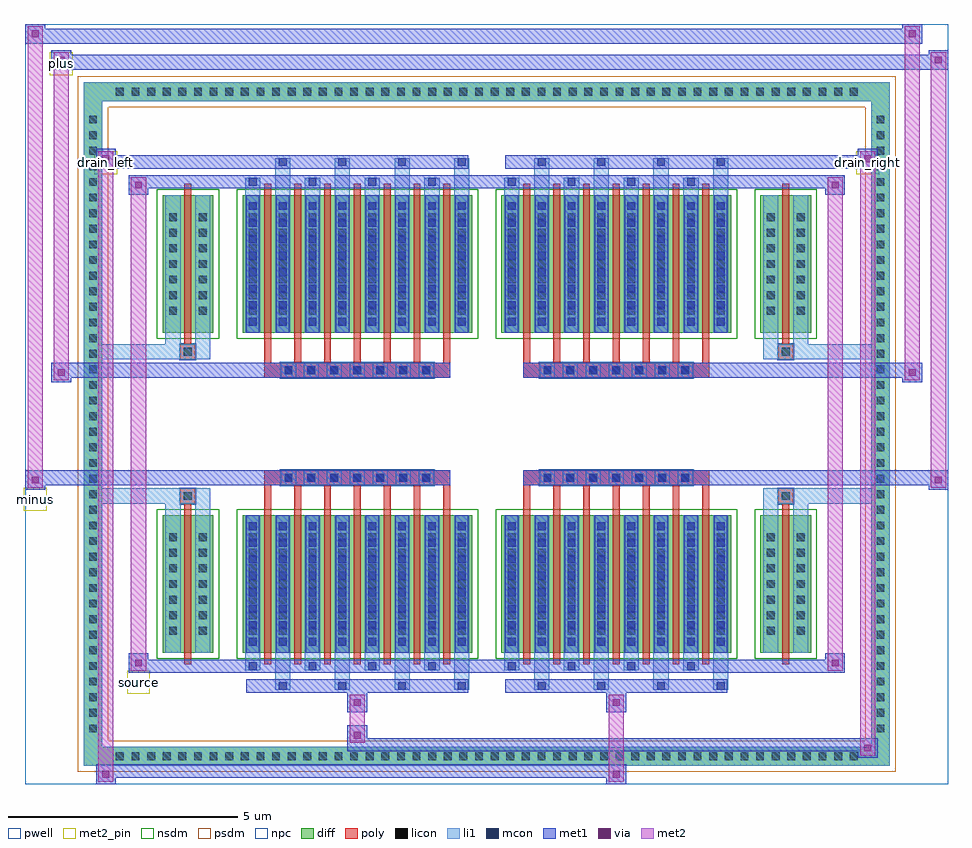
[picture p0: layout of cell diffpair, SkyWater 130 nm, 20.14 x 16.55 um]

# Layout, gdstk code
import gdstk
lib = gdstk.Library(unit=1e-6, precision=5e-09)
def R(c, l, rs):  # rectangles x0, y0, x1, y1
    for r in rs: c.add(gdstk.rectangle(r[:2], r[2:], *l))
def A(c, l, x, y, w, h, nx, ny, dx, dy):  # array of equal rectangles
    R(c, l, [(x+i*dx, y+j*dy, x+i*dx+w, y+j*dy+h) for i in range(nx) for j in range(ny)])
def P(c, l, *ps):  # polygons
    for p in ps: c.add(gdstk.Polygon(p, *l))
pwell = (64, 44)
diff = (65, 20)
poly = (66, 20)
licon = (66, 44)
li1 = (67, 20)
mcon = (67, 44)
met1 = (68, 20)
via = (68, 44)
met2_pin = (69, 16)
met2 = (69, 20)
nsdm = (93, 44)
psdm = (94, 20)
npc = (95, 20)

diffpair = lib.new_cell('diffpair')
R(diffpair, pwell, [(-10.05,-7.84,10.05,8.71), (-7.37,-6.03,-0.01,-0.805), (0.01,-6.03,7.37,-0.805), (-7.37,0.805,-0.01,6.03), (0.01,0.805,7.37,6.03)])
A(diffpair, diff, -8.195, -7.44, 0.41, 0.41, 48, 2, 0.34, 14.47)
A(diffpair, diff, -8.78, -6.835, 0.41, 0.41, 1, 40, 0, 0.34)
A(diffpair, diff, 8.37, -6.835, 0.41, 0.41, 1, 40, 0, 0.34)
R(diffpair, diff, [(-8.195,-7.44,8.195,-7.03), (-8.78,-6.835,-8.37,6.835), (8.37,-6.835,8.78,6.835), (-7.06,-4.985,-5.96,-1.985), (-5.32,-4.985,-0.32,-1.985), (0.32,-4.985,5.32,-1.985), (5.96,-4.985,7.06,-1.985), (-7.06,1.985,-5.96,4.985), (-5.32,1.985,-0.32,4.985), (0.32,1.985,5.32,4.985), (5.96,1.985,7.06,4.985), (-8.195,7.03,8.195,7.44)])
P(diffpair, diff, [(8.78,7.44),(-8.78,7.44),(-8.78,-7.03),(-8.37,-7.03),(-8.37,7.03),(8.37,7.03),(8.37,-7.03),(-8.37,-7.03),(-8.78,-7.03),(-8.78,-7.44),(8.78,-7.44)])
A(diffpair, poly, -4.845, -5.235, 0.15, 3.5, 7, 2, 0.65, 6.97)
A(diffpair, poly, 0.795, -5.235, 0.15, 3.5, 7, 2, 0.65, 6.97)
A(diffpair, poly, -4.845, -1.735, 0.15, 0.4, 7, 2, 0.65, 3.07)
A(diffpair, poly, 0.795, -1.735, 0.15, 0.4, 7, 2, 0.65, 3.07)
A(diffpair, poly, -4.485, -1.335, 0.33, 0.33, 7, 2, 0.5, 2.34)
A(diffpair, poly, 1.155, -1.335, 0.33, 0.33, 7, 2, 0.5, 2.34)
R(diffpair, poly, [(-6.585,-5.235,-6.435,-1.735), (6.435,-5.235,6.585,-1.735), (-6.675,-1.735,-6.345,-1.405), (-6.675,-1.735,-6.345,-1.405), (6.345,-1.735,6.675,-1.405), (6.345,-1.735,6.675,-1.405), (-4.845,-1.335,-0.795,-1.005), (0.795,-1.335,4.845,-1.005), (-4.845,1.005,-0.795,1.335), (0.795,1.005,4.845,1.335), (-6.675,1.405,-6.345,1.735), (-6.675,1.405,-6.345,1.735), (6.345,1.405,6.675,1.735), (6.345,1.405,6.675,1.735), (-6.585,1.735,-6.435,5.235), (6.435,1.735,6.585,5.235)])
A(diffpair, licon, -8.075, -7.32, 0.17, 0.17, 48, 2, 0.34, 14.47)
A(diffpair, licon, -8.66, -6.715, 0.17, 0.17, 1, 40, 0, 0.34)
A(diffpair, licon, 8.49, -6.715, 0.17, 0.17, 1, 40, 0, 0.34)
A(diffpair, licon, -6.92, -4.59, 0.17, 0.17, 1, 7, 0, 0.34)
A(diffpair, licon, -6.27, -4.59, 0.17, 0.17, 1, 7, 0, 0.34)
A(diffpair, licon, -5.18, -4.59, 0.17, 0.17, 8, 7, 0.65, 0.34)
A(diffpair, licon, 0.46, -4.59, 0.17, 0.17, 8, 7, 0.65, 0.34)
A(diffpair, licon, 6.1, -4.59, 0.17, 0.17, 1, 7, 0, 0.34)
A(diffpair, licon, 6.75, -4.59, 0.17, 0.17, 1, 7, 0, 0.34)
A(diffpair, licon, -4.405, -1.255, 0.17, 0.17, 7, 2, 0.5, 2.34)
A(diffpair, licon, 1.235, -1.255, 0.17, 0.17, 7, 2, 0.5, 2.34)
A(diffpair, licon, -6.92, 2.38, 0.17, 0.17, 1, 7, 0, 0.34)
A(diffpair, licon, -6.27, 2.38, 0.17, 0.17, 1, 7, 0, 0.34)
A(diffpair, licon, -5.18, 2.38, 0.17, 0.17, 8, 7, 0.65, 0.34)
A(diffpair, licon, 0.46, 2.38, 0.17, 0.17, 8, 7, 0.65, 0.34)
A(diffpair, licon, 6.1, 2.38, 0.17, 0.17, 1, 7, 0, 0.34)
A(diffpair, licon, 6.75, 2.38, 0.17, 0.17, 1, 7, 0, 0.34)
R(diffpair, licon, [(-6.595,-1.655,-6.425,-1.485), (6.425,-1.655,6.595,-1.485), (-6.595,1.485,-6.425,1.655), (6.425,1.485,6.595,1.655)])
A(diffpair, li1, -8.155, -7.4, 0.33, 0.33, 48, 2, 0.34, 14.47)
A(diffpair, li1, -8.74, -6.795, 0.33, 0.33, 1, 40, 0, 0.34)
A(diffpair, li1, 8.41, -6.795, 0.33, 0.33, 1, 40, 0, 0.34)
A(diffpair, li1, -4.61, -5.79, 0.33, 0.805, 4, 2, 1.3, 10.775)
A(diffpair, li1, -4.53, -5.79, 0.17, 0.17, 4, 2, 1.3, 11.41)
A(diffpair, li1, 1.03, -5.79, 0.33, 0.805, 4, 2, 1.3, 10.775)
A(diffpair, li1, 1.11, -5.79, 0.17, 0.17, 4, 2, 1.3, 11.41)
A(diffpair, li1, -5.26, -5.36, 0.33, 0.375, 4, 2, 1.3, 10.345)
A(diffpair, li1, -5.18, -5.36, 0.17, 0.17, 4, 2, 1.3, 10.55)
A(diffpair, li1, 0.38, -5.36, 0.33, 0.375, 4, 2, 1.3, 10.345)
A(diffpair, li1, 0.46, -5.36, 0.17, 0.17, 4, 2, 1.3, 10.55)
A(diffpair, li1, -5.26, -4.985, 0.33, 3, 8, 2, 0.65, 6.97)
A(diffpair, li1, 0.38, -4.985, 0.33, 3, 8, 2, 0.65, 6.97)
A(diffpair, li1, -5.18, -4.83, 0.17, 0.17, 8, 8, 0.65, 0.36)
A(diffpair, li1, -5.18, -4.83, 0.17, 2.69, 8, 2, 0.65, 6.97)
A(diffpair, li1, 0.46, -4.83, 0.17, 0.17, 8, 8, 0.65, 0.36)
A(diffpair, li1, 0.46, -4.83, 0.17, 2.69, 8, 2, 0.65, 6.97)
A(diffpair, li1, -7, -4.67, 0.33, 0.33, 1, 7, 0, 0.34)
A(diffpair, li1, -6.35, -4.67, 0.33, 0.33, 1, 7, 0, 0.34)
A(diffpair, li1, -5.26, -4.67, 0.33, 0.33, 8, 7, 0.65, 0.34)
A(diffpair, li1, 0.38, -4.67, 0.33, 0.33, 8, 7, 0.65, 0.34)
A(diffpair, li1, 6.02, -4.67, 0.33, 0.33, 1, 7, 0, 0.34)
A(diffpair, li1, 6.67, -4.67, 0.33, 0.33, 1, 7, 0, 0.34)
A(diffpair, li1, -4.485, -1.335, 0.33, 0.33, 7, 2, 0.5, 2.34)
A(diffpair, li1, 1.155, -1.335, 0.33, 0.33, 7, 2, 0.5, 2.34)
A(diffpair, li1, -5.18, 2.14, 0.17, 0.17, 8, 8, 0.65, 0.36)
A(diffpair, li1, 0.46, 2.14, 0.17, 0.17, 8, 8, 0.65, 0.36)
A(diffpair, li1, -7, 2.3, 0.33, 0.33, 1, 7, 0, 0.34)
A(diffpair, li1, -6.35, 2.3, 0.33, 0.33, 1, 7, 0, 0.34)
A(diffpair, li1, -5.26, 2.3, 0.33, 0.33, 8, 7, 0.65, 0.34)
A(diffpair, li1, 0.38, 2.3, 0.33, 0.33, 8, 7, 0.65, 0.34)
A(diffpair, li1, 6.02, 2.3, 0.33, 0.33, 1, 7, 0, 0.34)
A(diffpair, li1, 6.67, 2.3, 0.33, 0.33, 1, 7, 0, 0.34)
R(diffpair, li1, [(-8.78,-7.44,-8.37,-7.03), (-8.78,-7.44,-8.37,-7.03), (-8.37,-7.44,8.37,-7.03), (8.37,-7.44,8.78,-7.03), (8.37,-7.44,8.78,-7.03), (-8.78,-7.03,-8.37,7.03), (8.37,-7.03,8.78,7.03), (-7,-4.985,-6.67,-1.985), (-6.35,-4.985,-6.02,-1.985), (6.02,-4.985,6.35,-1.985), (6.67,-4.985,7,-1.985), (-7,-1.985,-6.67,-1.405), (-6.35,-1.985,-6.02,-1.405), (6.02,-1.985,6.35,-1.405), (6.67,-1.985,7,-1.405), (-8.78,-1.735,-6.675,-1.405), (-7,-1.735,-6.675,-1.405), (-6.675,-1.735,-6.345,-1.405), (-6.345,-1.735,-6.02,-1.405), (6.02,-1.735,6.345,-1.405), (6.345,-1.735,6.675,-1.405), (6.345,-1.735,8.78,-1.405), (6.675,-1.735,7,-1.405), (-8.78,1.405,-6.675,1.735), (-7,1.405,-6.675,1.735), (-7,1.405,-6.67,1.985), (-6.675,1.405,-6.345,1.735), (-6.35,1.405,-6.02,1.985), (-6.345,1.405,-6.02,1.735), (6.02,1.405,6.345,1.735), (6.02,1.405,6.35,1.985), (6.345,1.405,6.675,1.735), (6.345,1.405,8.78,1.735), (6.67,1.405,7,1.985), (6.675,1.405,7,1.735), (-7,1.985,-6.67,4.985), (-6.35,1.985,-6.02,4.985), (6.02,1.985,6.35,4.985), (6.67,1.985,7,4.985), (-8.78,7.03,-8.37,7.44), (-8.78,7.03,-8.37,7.44), (-8.37,7.03,8.37,7.44), (8.37,7.03,8.78,7.44), (8.37,7.03,8.78,7.44)])
A(diffpair, mcon, -4.53, -5.79, 0.17, 0.17, 4, 2, 1.3, 11.41)
A(diffpair, mcon, 1.11, -5.79, 0.17, 0.17, 4, 2, 1.3, 11.41)
A(diffpair, mcon, -5.18, -5.36, 0.17, 0.17, 4, 2, 1.3, 10.55)
A(diffpair, mcon, 0.46, -5.36, 0.17, 0.17, 4, 2, 1.3, 10.55)
A(diffpair, mcon, -5.18, -4.83, 0.17, 0.17, 8, 8, 0.65, 0.36)
A(diffpair, mcon, 0.46, -4.83, 0.17, 0.17, 8, 8, 0.65, 0.36)
A(diffpair, mcon, -4.405, -1.255, 0.17, 0.17, 7, 2, 0.5, 2.34)
A(diffpair, mcon, 1.235, -1.255, 0.17, 0.17, 7, 2, 0.5, 2.34)
A(diffpair, mcon, -5.18, 2.14, 0.17, 0.17, 8, 8, 0.65, 0.36)
A(diffpair, mcon, 0.46, 2.14, 0.17, 0.17, 8, 8, 0.65, 0.36)
A(diffpair, met1, -4.59, -5.85, 0.29, 0.29, 4, 2, 1.3, 11.41)
A(diffpair, met1, 1.05, -5.85, 0.29, 0.29, 4, 2, 1.3, 11.41)
A(diffpair, met1, -5.24, -5.42, 0.29, 0.29, 4, 2, 1.3, 10.55)
A(diffpair, met1, 0.4, -5.42, 0.29, 0.29, 4, 2, 1.3, 10.55)
A(diffpair, met1, -5.24, -4.985, 0.29, 3, 8, 2, 0.65, 6.97)
A(diffpair, met1, 0.4, -4.985, 0.29, 3, 8, 2, 0.65, 6.97)
A(diffpair, met1, -5.24, -4.89, 0.29, 0.29, 8, 8, 0.65, 0.36)
A(diffpair, met1, 0.4, -4.89, 0.29, 0.29, 8, 8, 0.65, 0.36)
A(diffpair, met1, -4.465, -1.315, 0.29, 0.29, 7, 2, 0.5, 2.34)
A(diffpair, met1, 1.175, -1.315, 0.29, 0.29, 7, 2, 0.5, 2.34)
A(diffpair, met1, -5.24, 2.08, 0.29, 0.29, 8, 8, 0.65, 0.36)
A(diffpair, met1, 0.4, 2.08, 0.29, 0.29, 8, 8, 0.65, 0.36)
R(diffpair, met1, [(-8.51,-7.84,-8.08,-7.41), (2.605,-7.84,3.035,-7.41), (-8.51,-7.7,3.035,-7.41), (8.08,-7.27,8.51,-6.84), (-3.035,-7.13,8.51,-6.84), (-3.035,-6.99,-2.605,-6.56), (-3.035,-6.28,-2.605,-5.85), (2.605,-6.28,3.035,-5.85), (-5.24,-5.85,-0.4,-5.56), (0.4,-5.85,5.24,-5.56), (-7.8,-5.42,-7.37,-4.99), (-7.8,-5.42,-5.24,-5.13), (-5.24,-5.42,-0.4,-5.13), (-0.4,-5.42,0.4,-5.13), (0.4,-5.42,5.24,-5.13), (5.24,-5.42,7.8,-5.13), (7.37,-5.42,7.8,-4.99), (-10.05,-1.435,-9.62,-1.005), (9.62,-1.435,10.05,-1.005), (-10.05,-1.335,-0.795,-1.005), (-4.845,-1.335,-0.795,-1.005), (0.795,-1.335,4.845,-1.005), (0.795,-1.335,10.05,-1.005), (-9.48,0.905,-9.05,1.335), (9.05,0.905,9.48,1.335), (-9.48,1.005,-4.845,1.335), (-4.845,1.005,-0.795,1.335), (0.795,1.005,4.845,1.335), (4.845,1.005,9.48,1.335), (-7.8,4.99,-7.37,5.42), (7.37,4.99,7.8,5.42), (-7.8,5.13,-5.24,5.42), (-5.24,5.13,-0.4,5.42), (-0.4,5.13,0.4,5.42), (0.4,5.13,5.24,5.42), (5.24,5.13,7.8,5.42), (-8.51,5.56,-8.08,5.99), (-8.51,5.56,-5.24,5.85), (-5.24,5.56,-0.4,5.85), (0.4,5.56,5.24,5.85), (5.24,5.56,8.51,5.85), (8.08,5.56,8.51,5.99), (-9.48,7.71,-9.05,8.14), (-9.48,7.71,-7.37,8.04), (-7.37,7.71,7.37,8.04), (7.37,7.71,10.05,8.04), (9.62,7.71,10.05,8.14), (-10.05,8.28,-9.62,8.71), (-10.05,8.28,-7.37,8.61), (-7.37,8.28,7.37,8.61), (7.37,8.28,9.48,8.61), (9.05,8.28,9.48,8.71)])
R(diffpair, via, [(-8.37,-7.7,-8.22,-7.55), (2.745,-7.7,2.895,-7.55), (8.22,-7.13,8.37,-6.98), (-2.895,-6.85,-2.745,-6.7), (-2.895,-6.14,-2.745,-5.99), (2.745,-6.14,2.895,-5.99), (-7.66,-5.28,-7.51,-5.13), (7.51,-5.28,7.66,-5.13), (-9.91,-1.295,-9.76,-1.145), (9.76,-1.295,9.91,-1.145), (-9.34,1.045,-9.19,1.195), (9.19,1.045,9.34,1.195), (-7.66,5.13,-7.51,5.28), (7.51,5.13,7.66,5.28), (-8.37,5.7,-8.22,5.85), (8.22,5.7,8.37,5.85), (-9.34,7.85,-9.19,8), (9.76,7.85,9.91,8), (-9.91,8.42,-9.76,8.57), (9.19,8.42,9.34,8.57)])
R(diffpair, met2_pin, [(-7.835,-5.87,-7.335,-5.37), (-10.085,-1.885,-9.585,-1.385), (-8.545,5.44,-8.045,5.94), (8.045,5.44,8.545,5.94), (-9.515,7.59,-9.015,8.09)])
R(diffpair, met2, [(-8.46,-7.79,-8.13,-7.46), (-8.46,-7.79,-8.13,5.94), (2.655,-7.79,2.985,-7.46), (2.655,-7.46,2.985,-6.23), (8.13,-7.22,8.46,-6.89), (8.13,-7.22,8.46,5.94), (-2.985,-6.94,-2.655,-6.61), (-2.985,-6.61,-2.655,-6.23), (-2.985,-6.23,-2.655,-5.9), (2.655,-6.23,2.985,-5.9), (-7.75,-5.37,-7.42,-5.04), (-7.75,-5.37,-7.42,5.37), (7.42,-5.37,7.75,-5.04), (7.42,-5.37,7.75,5.37), (-10,-1.385,-9.67,-1.055), (-10,-1.385,-9.67,8.66), (9.67,-1.385,10,-1.055), (9.67,-1.385,10,8.09), (-9.43,0.955,-9.1,1.285), (-9.43,0.955,-9.1,8.09), (9.1,0.955,9.43,1.285), (9.1,0.955,9.43,8.66), (-7.75,5.04,-7.42,5.37), (7.42,5.04,7.75,5.37), (-8.46,5.61,-8.13,5.94), (8.13,5.61,8.46,5.94), (-9.43,7.76,-9.1,8.09), (9.67,7.76,10,8.09), (-10,8.33,-9.67,8.66), (9.1,8.33,9.43,8.66)])
P(diffpair, met2, [(10,-1.385),(10,-1.385),(10,-1.055),(10,-1.055)],
  [(10,7.76),(10,7.76),(10,8.09),(10,8.09)],
  [(-9.67,-1.385),(-9.67,-1.385),(-9.67,-1.055),(-9.67,-1.055)],
  [(-9.67,8.33),(-9.67,8.33),(-9.67,8.66),(-9.67,8.66)],
  [(9.43,0.955),(9.43,0.955),(9.43,1.285),(9.43,1.285)],
  [(9.43,8.33),(9.43,8.33),(9.43,8.66),(9.43,8.66)],
  [(-9.1,0.955),(-9.1,0.955),(-9.1,1.285),(-9.1,1.285)],
  [(-9.1,7.76),(-9.1,7.76),(-9.1,8.09),(-9.1,8.09)],
  [(-8.13,-7.79),(-8.13,-7.79),(-8.13,-7.46),(-8.13,-7.46)],
  [(-8.13,5.61),(-8.13,5.61),(-8.13,5.94),(-8.13,5.94)],
  [(8.46,-7.22),(8.46,-7.22),(8.46,-6.89),(8.46,-6.89)],
  [(8.46,5.61),(8.46,5.61),(8.46,5.94),(8.46,5.94)],
  [(-7.42,-5.37),(-7.42,-5.37),(-7.42,-5.04),(-7.42,-5.04)],
  [(-7.42,5.04),(-7.42,5.04),(-7.42,5.37),(-7.42,5.37)],
  [(7.75,-5.37),(7.75,-5.37),(7.75,-5.04),(7.75,-5.04)],
  [(7.75,5.04),(7.75,5.04),(7.75,5.37),(7.75,5.37)])
R(diffpair, nsdm, [(-7.19,-5.115,-5.83,-1.855), (-5.45,-5.115,-0.19,-1.855), (0.19,-5.115,5.45,-1.855), (5.83,-5.115,7.19,-1.855), (-7.19,1.855,-5.83,5.115), (-5.45,1.855,-0.19,5.115), (0.19,1.855,5.45,5.115), (5.83,1.855,7.19,5.115)])
P(diffpair, psdm, [(8.91,7.57),(-8.91,7.57),(-8.91,-6.9),(-8.24,-6.9),(-8.24,6.9),(8.24,6.9),(8.24,-6.9),(-8.24,-6.9),(-8.91,-6.9),(-8.91,-7.57),(8.91,-7.57)])
A(diffpair, npc, -4.505, -1.355, 0.37, 0.37, 7, 2, 0.5, 2.34)
A(diffpair, npc, 1.135, -1.355, 0.37, 0.37, 7, 2, 0.5, 2.34)
R(diffpair, npc, [(-6.695,-1.755,-6.325,-1.385), (6.325,-1.755,6.695,-1.385), (-4.505,-1.355,-3.635,-0.985), (-4.505,-1.355,-3.635,-0.985), (-4.005,-1.355,-3.135,-0.985), (-4.005,-1.355,-3.135,-0.985), (-3.505,-1.355,-2.635,-0.985), (-3.505,-1.355,-2.635,-0.985), (-3.005,-1.355,-2.135,-0.985), (-3.005,-1.355,-2.135,-0.985), (-2.505,-1.355,-1.635,-0.985), (-2.505,-1.355,-1.635,-0.985), (-2.005,-1.355,-1.135,-0.985), (-2.005,-1.355,-1.135,-0.985), (1.135,-1.355,2.005,-0.985), (1.135,-1.355,2.005,-0.985), (1.635,-1.355,2.505,-0.985), (1.635,-1.355,2.505,-0.985), (2.135,-1.355,3.005,-0.985), (2.135,-1.355,3.005,-0.985), (2.635,-1.355,3.505,-0.985), (2.635,-1.355,3.505,-0.985), (3.135,-1.355,4.005,-0.985), (3.135,-1.355,4.005,-0.985), (3.635,-1.355,4.505,-0.985), (3.635,-1.355,4.505,-0.985), (-4.505,0.985,-3.635,1.355), (-4.505,0.985,-3.635,1.355), (-4.005,0.985,-3.135,1.355), (-4.005,0.985,-3.135,1.355), (-3.505,0.985,-2.635,1.355), (-3.505,0.985,-2.635,1.355), (-3.005,0.985,-2.135,1.355), (-3.005,0.985,-2.135,1.355), (-2.505,0.985,-1.635,1.355), (-2.505,0.985,-1.635,1.355), (-2.005,0.985,-1.135,1.355), (-2.005,0.985,-1.135,1.355), (1.135,0.985,2.005,1.355), (1.135,0.985,2.005,1.355), (1.635,0.985,2.505,1.355), (1.635,0.985,2.505,1.355), (2.135,0.985,3.005,1.355), (2.135,0.985,3.005,1.355), (2.635,0.985,3.505,1.355), (2.635,0.985,3.505,1.355), (3.135,0.985,4.005,1.355), (3.135,0.985,4.005,1.355), (3.635,0.985,4.505,1.355), (3.635,0.985,4.505,1.355), (-6.695,1.385,-6.325,1.755), (6.325,1.385,6.695,1.755)])
diffpair.add(gdstk.Label('minus', (-9.835,-1.635), layer=69, texttype=5))
diffpair.add(gdstk.Label('drain_right', (8.295,5.69), layer=69, texttype=5))
diffpair.add(gdstk.Label('drain_left', (-8.295,5.69), layer=69, texttype=5))
diffpair.add(gdstk.Label('source', (-7.585,-5.62), layer=69, texttype=5))
diffpair.add(gdstk.Label('plus', (-9.265,7.84), layer=69, texttype=5))

lib.write_gds('diffpair.gds')
